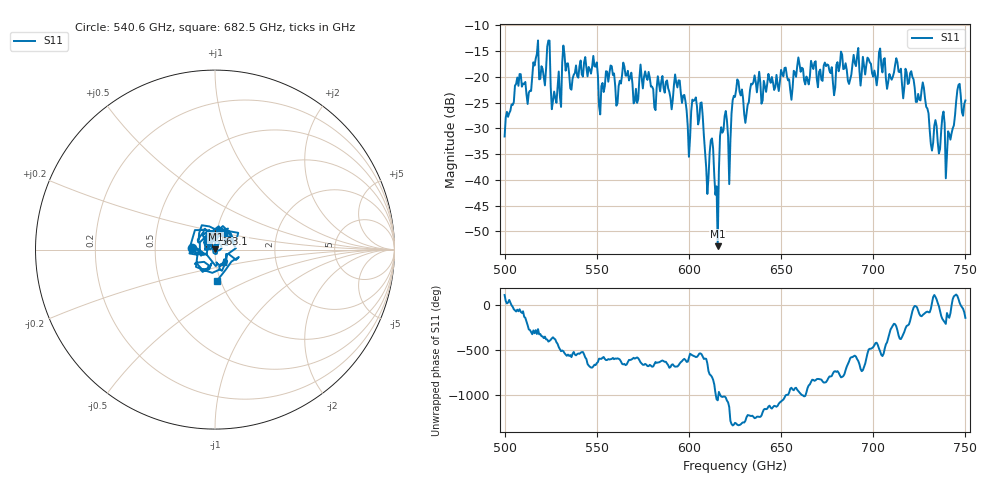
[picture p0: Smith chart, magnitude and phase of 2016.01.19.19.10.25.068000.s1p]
!Created with skrf (http://scikit-rf.org).
# GHz S RI R 50.0
!freq ReS11 ImS11
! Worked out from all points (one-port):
!   401 points, 500 GHz to 750 GHz, reference 50 ohm
!   lowest |S11| = -52.9 dB at 615.6 GHz (marker M1), VSWR 1.00, Z = 50.2 + j0.0616 ohm
!   |S11| at or under -10 dB: start of sweep to end of sweep
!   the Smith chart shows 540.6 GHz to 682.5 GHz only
!   S11 on the Smith chart (normalised r, x): 540.6 GHz: 0.78, +0.01; 563.1 GHz: 0.98, +0.17; 682.5 GHz: 0.96, -0.35
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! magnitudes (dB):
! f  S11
! 500 GHz  -31.6
! 507.5 GHz  -21.7
! 513.1 GHz  -23.1
! 516.9 GHz  -16.5
! 523.8 GHz  -12.9
! 526.9 GHz  -22.8
! 531.2 GHz  -17.2
! 540.6 GHz  -17.9
! 562.5 GHz  -20.8
! 563.1 GHz  -21.3
! 593.8 GHz  -22.1
! 600 GHz  -35.5
! 602.5 GHz  -24.6
! 606.9 GHz  -25.0
! 609.4 GHz  -37.6
! 612.5 GHz  -31.9
! 615.6 GHz  -52.9
! 618.1 GHz  -30.8
! 621.9 GHz  -40.8
! 625 GHz  -23.9
! 631.2 GHz  -27.2
! 656.2 GHz  -22.1
! 682.5 GHz  -15.1
! 687.5 GHz  -20.4
! 718.8 GHz  -21.4
! 740.6 GHz  -30.6
! 746.2 GHz  -21.6
! 750 GHz  -24.6
